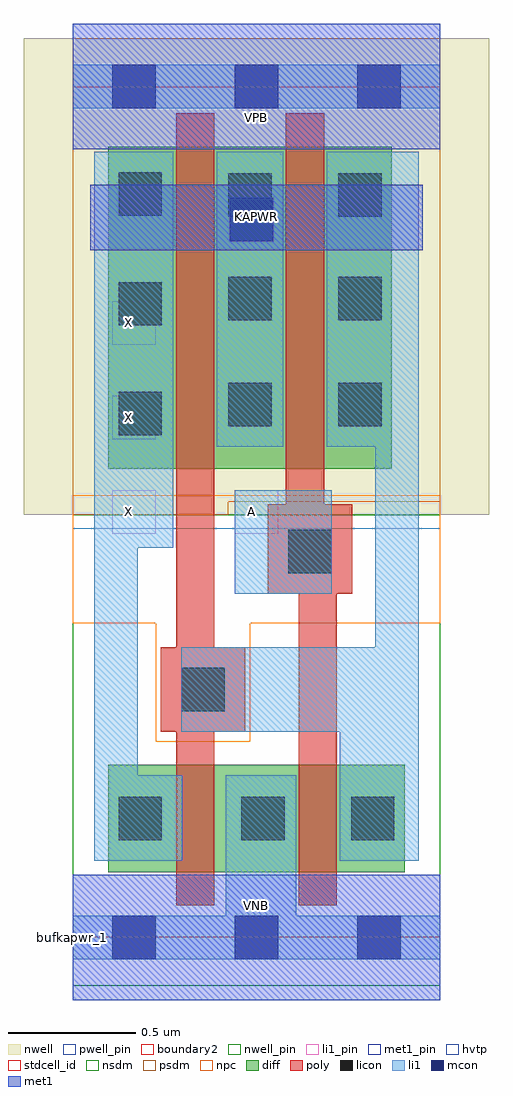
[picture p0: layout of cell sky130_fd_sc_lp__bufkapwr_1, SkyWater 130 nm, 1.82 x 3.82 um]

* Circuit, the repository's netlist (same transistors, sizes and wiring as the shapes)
* Copyright 2020 The SkyWater PDK Authors
*
* Licensed under the Apache License, Version 2.0 (the "License");
* you may not use this file except in compliance with the License.
* You may obtain a copy of the License at
*
*     https://www.apache.org/licenses/LICENSE-2.0
*
* Unless required by applicable law or agreed to in writing, software
* distributed under the License is distributed on an "AS IS" BASIS,
* WITHOUT WARRANTIES OR CONDITIONS OF ANY KIND, either express or implied.
* See the License for the specific language governing permissions and
* limitations under the License.
*
* SPDX-License-Identifier: Apache-2.0

.SUBCKT sky130_fd_sc_lp__bufkapwr_1 A KAPWR VGND VNB VPB VPWR X
*.PININFO A:I KAPWR:I VGND:I VNB:I VPB:I VPWR:I X:O
MMIN0 Ab A VGND VNB sky130_fd_pr__nfet_01v8 m=1 w=0.42U l=0.15U mult=1 sa=0.265
+ sb=0.265 sd=0.28 area=0.063 perim=1.14
MMIN1 X Ab VGND VNB sky130_fd_pr__nfet_01v8 m=1 w=0.42U l=0.15U mult=1 sa=0.265
+ sb=0.265 sd=0.28 area=0.063 perim=1.14
MMIP0 Ab A KAPWR VPB sky130_fd_pr__pfet_01v8_hvt m=1 w=1.26U l=0.15U mult=1 sa=0.265
+ sb=0.265 sd=0.28 area=0.063 perim=1.14
MMIP1 X Ab KAPWR VPB sky130_fd_pr__pfet_01v8_hvt m=1 w=1.26U l=0.15U mult=1 sa=0.265
+ sb=0.265 sd=0.28 area=0.063 perim=1.14
.ENDS sky130_fd_sc_lp__bufkapwr_1

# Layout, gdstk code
import gdstk
lib = gdstk.Library(unit=1e-6, precision=1e-09)
def R(c, l, rs):  # rectangles x0, y0, x1, y1
    for r in rs: c.add(gdstk.rectangle(r[:2], r[2:], *l))
def A(c, l, x, y, w, h, nx, ny, dx, dy):  # array of equal rectangles
    R(c, l, [(x+i*dx, y+j*dy, x+i*dx+w, y+j*dy+h) for i in range(nx) for j in range(ny)])
def P(c, l, *ps):  # polygons
    for p in ps: c.add(gdstk.Polygon(p, *l))
nwell_pin = (64, 16)
nwell = (64, 20)
diff = (65, 20)
poly = (66, 20)
licon = (66, 44)
li1_pin = (67, 16)
li1 = (67, 20)
mcon = (67, 44)
met1_pin = (68, 16)
met1 = (68, 20)
hvtp = (78, 44)
stdcell_id = (81, 4)
nsdm = (93, 44)
psdm = (94, 20)
npc = (95, 20)
pwell_pin = (122, 16)
boundary2 = (236, 0)

sky130_fd_sc_lp__bufkapw = lib.new_cell('sky130_fd_sc_lp__bufkapwr_1')
R(sky130_fd_sc_lp__bufkapw, nwell_pin, [(0,3.085,1.44,3.33)])
R(sky130_fd_sc_lp__bufkapw, nwell, [(-0.19,1.655,1.63,3.52)])
R(sky130_fd_sc_lp__bufkapw, diff, [(0.14,0.255,1.3,0.675), (0.14,1.835,1.25,3.095)])
P(sky130_fd_sc_lp__bufkapw, poly, [(1.095,1.695),(0.985,1.695),(0.985,3.225),(0.835,3.225),(0.835,1.695),(0.765,1.695),(0.765,1.345),(0.885,1.345),(0.885,0.125),(1.035,0.125),(1.035,1.345),(1.095,1.345)],
  [(0.675,1.135),(0.555,1.135),(0.555,3.225),(0.405,3.225),(0.405,1.135),(0.345,1.135),(0.345,0.805),(0.405,0.805),(0.405,0.125),(0.555,0.125),(0.555,0.805),(0.675,0.805)])
A(sky130_fd_sc_lp__bufkapw, licon, 0.18, 1.965, 0.17, 0.17, 1, 3, 0, 0.43)
R(sky130_fd_sc_lp__bufkapw, licon, [(0.18,0.38,0.35,0.55), (0.66,0.38,0.83,0.55), (1.09,0.38,1.26,0.55), (0.425,0.885,0.595,1.055), (0.845,1.425,1.015,1.595), (0.61,2,0.78,2.17), (1.04,2,1.21,2.17), (0.61,2.415,0.78,2.585), (1.04,2.415,1.21,2.585), (0.61,2.82,0.78,2.99), (1.04,2.82,1.21,2.99)])
A(sky130_fd_sc_lp__bufkapw, li1_pin, 0.155, 1.58, 0.17, 0.17, 1, 3, 0, 0.37)
R(sky130_fd_sc_lp__bufkapw, li1_pin, [(0.635,1.58,0.805,1.75)])
R(sky130_fd_sc_lp__bufkapw, li1, [(0.635,1.345,1.015,1.75), (0.565,1.92,0.825,3.075), (0,3.245,1.44,3.415)])
P(sky130_fd_sc_lp__bufkapw, li1, [(1.355,3.075),(0.995,3.075),(0.995,1.92),(1.185,1.92),(1.185,1.135),(0.425,1.135),(0.425,0.805),(1.045,0.805),(1.045,0.3),(1.355,0.3)],
  [(0.43,0.635),(0.255,0.635),(0.255,1.525),(0.395,1.525),(0.395,3.075),(0.085,3.075),(0.085,0.3),(0.43,0.3)],
  [(1.44,0.085),(0.875,0.085),(0.875,0.635),(0.6,0.635),(0.6,0.085),(0,0.085),(0,-0.085),(1.44,-0.085)])
A(sky130_fd_sc_lp__bufkapw, mcon, 0.155, -0.085, 0.17, 0.17, 3, 2, 0.48, 3.33)
R(sky130_fd_sc_lp__bufkapw, mcon, [(0.615,2.725,0.785,2.895)])
R(sky130_fd_sc_lp__bufkapw, met1_pin, [(0,0,1.44,0.245), (0.07,2.69,1.37,2.945), (0,3.085,1.44,3.33)])
R(sky130_fd_sc_lp__bufkapw, met1, [(0,-0.245,1.44,0.245), (0.07,2.69,1.37,2.945), (0,3.085,1.44,3.575)])
R(sky130_fd_sc_lp__bufkapw, hvtp, [(0,1.6,1.44,3.33)])
R(sky130_fd_sc_lp__bufkapw, stdcell_id, [(0,0,1.44,3.33)])
R(sky130_fd_sc_lp__bufkapw, nsdm, [(0,-0.19,1.44,1.655)])
P(sky130_fd_sc_lp__bufkapw, psdm, [(1.44,3.52),(0,3.52),(0,1.655),(0.61,1.655),(0.61,1.705),(1.44,1.705)])
P(sky130_fd_sc_lp__bufkapw, npc, [(1.44,1.73),(0,1.73),(0,1.23),(0.325,1.23),(0.325,0.765),(0.695,0.765),(0.695,1.23),(1.44,1.23)])
R(sky130_fd_sc_lp__bufkapw, pwell_pin, [(0,0,1.44,0.245)])
R(sky130_fd_sc_lp__bufkapw, boundary2, [(0,0,1.44,3.33)])
sky130_fd_sc_lp__bufkapw.add(gdstk.Label('VNB', (0.72,0.123), layer=64, texttype=59))
sky130_fd_sc_lp__bufkapw.add(gdstk.Label('VPB', (0.72,3.208), layer=64, texttype=5))
sky130_fd_sc_lp__bufkapw.add(gdstk.Label('bufkapwr_1', (0,0), layer=83, texttype=44))
sky130_fd_sc_lp__bufkapw.add(gdstk.Label('VPWR', (0.72,3.208), layer=68, texttype=5))
sky130_fd_sc_lp__bufkapw.add(gdstk.Label('VGND', (0.72,0.123), layer=68, texttype=5))
sky130_fd_sc_lp__bufkapw.add(gdstk.Label('KAPWR', (0.72,2.82), layer=68, texttype=5))
sky130_fd_sc_lp__bufkapw.add(gdstk.Label('A', (0.7,1.665), layer=67, texttype=5))
sky130_fd_sc_lp__bufkapw.add(gdstk.Label('X', (0.22,1.665), layer=67, texttype=5))
sky130_fd_sc_lp__bufkapw.add(gdstk.Label('X', (0.22,2.035), layer=67, texttype=5))
sky130_fd_sc_lp__bufkapw.add(gdstk.Label('X', (0.22,2.405), layer=67, texttype=5))

lib.write_gds('sky130_fd_sc_lp__bufkapwr_1.gds')
